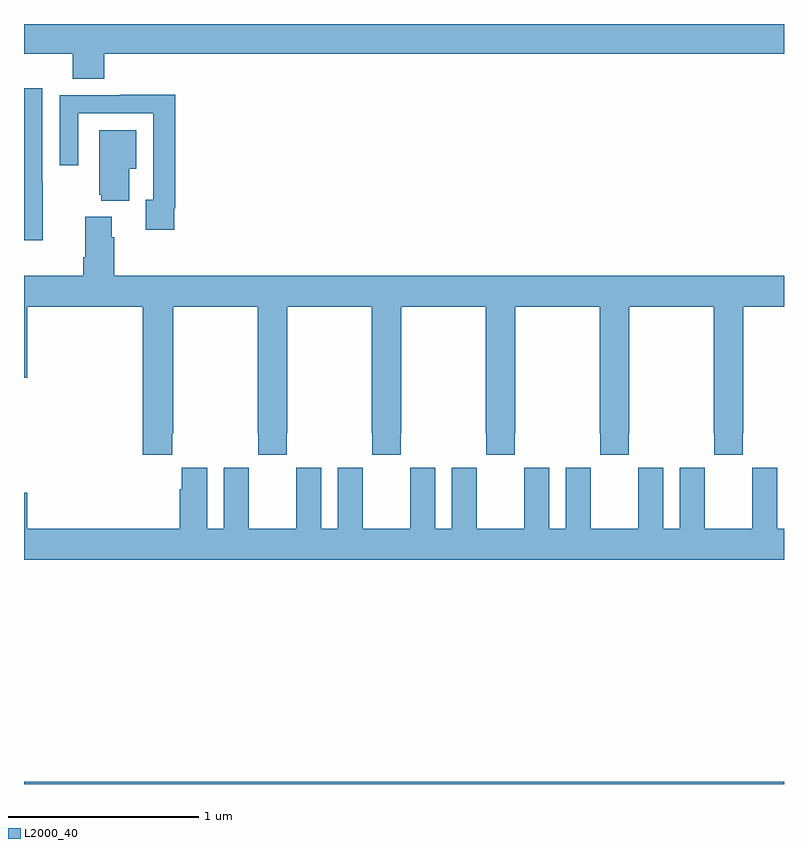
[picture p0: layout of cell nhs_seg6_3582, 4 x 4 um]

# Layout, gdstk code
import gdstk
lib = gdstk.Library(unit=1e-6, precision=1e-09)
def R(c, l, rs):  # rectangles x0, y0, x1, y1
    for r in rs: c.add(gdstk.rectangle(r[:2], r[2:], *l))
def P(c, l, *ps):  # polygons
    for p in ps: c.add(gdstk.Polygon(p, *l))
L2000_40 = (2000, 40)

nhs_seg6_3582 = lib.new_cell('nhs_seg6_3582')
R(nhs_seg6_3582, L2000_40, [(321,935.5,325,935.512)])
P(nhs_seg6_3582, L2000_40, [(325,939.5),(321,939.5),(321,939.344),(321.257,939.344),(321.257,939.211),(321.422,939.211),(321.422,939.344),(325,939.344)],
  [(321.099,938.669),(321.096,938.669),(321.096,939.163),(321,939.163),(321,938.363),(321.099,938.363)],
  [(321.79,938.53),(321.797,938.53),(321.797,939.128),(321.505,939.128),(321.505,939.126),(321.189,939.126),(321.189,938.757),(321.285,938.757),(321.285,939.03),(321.681,939.03),(321.681,938.574),(321.641,938.574),(321.641,938.418),(321.79,938.418)],
  [(321.553,938.738),(321.592,938.738),(321.592,938.941),(321.395,938.941),(321.395,938.601),(321.407,938.601),(321.407,938.57),(321.553,938.57)],
  [(321.476,938.378),(321.463,938.378),(321.463,938.485),(321.323,938.485),(321.323,938.272),(321.311,938.272),(321.311,938.176),(321,938.176),(321,937.638),(321.016,937.638),(321.016,938.012),(321.626,938.012),(321.626,937.233),(321.779,937.233),(321.779,937.345),(321.786,937.345),(321.786,938.012),(322.231,938.012),(322.231,937.345),(322.233,937.345),(322.233,937.233),(322.383,937.233),(322.383,937.345),(322.386,937.345),(322.386,938.012),(322.831,938.012),(322.831,937.345),(322.833,937.345),(322.833,937.233),(322.983,937.233),(322.983,937.345),(322.986,937.345),(322.986,938.012),(323.431,938.012),(323.431,937.345),(323.433,937.345),(323.433,937.233),(323.583,937.233),(323.583,937.345),(323.586,937.345),(323.586,938.012),(324.031,938.012),(324.031,937.345),(324.033,937.345),(324.033,937.233),(324.183,937.233),(324.183,937.345),(324.186,937.345),(324.186,938.012),(324.631,938.012),(324.631,937.345),(324.633,937.345),(324.633,937.233),(324.783,937.233),(324.783,937.345),(324.786,937.345),(324.786,938.012),(325,938.012),(325,938.176),(321.476,938.176)],
  [(324.834,937.165),(324.834,937.052),(324.833,937.052),(324.833,936.844),(324.583,936.844),(324.583,937.052),(324.582,937.052),(324.582,937.165),(324.452,937.165),(324.452,936.844),(324.364,936.844),(324.364,937.165),(324.234,937.165),(324.234,937.052),(324.233,937.052),(324.233,936.844),(323.983,936.844),(323.983,937.052),(323.982,937.052),(323.982,937.165),(323.852,937.165),(323.852,936.844),(323.764,936.844),(323.764,937.165),(323.634,937.165),(323.634,937.052),(323.633,937.052),(323.633,936.844),(323.383,936.844),(323.383,937.052),(323.382,937.052),(323.382,937.165),(323.252,937.165),(323.252,936.844),(323.164,936.844),(323.164,937.165),(323.034,937.165),(323.034,937.052),(323.033,937.052),(323.033,936.844),(322.783,936.844),(322.783,937.052),(322.782,937.052),(322.782,937.165),(322.652,937.165),(322.652,936.844),(322.564,936.844),(322.564,937.165),(322.434,937.165),(322.434,937.052),(322.433,937.052),(322.433,936.844),(322.183,936.844),(322.183,937.052),(322.182,937.052),(322.182,937.165),(322.052,937.165),(322.052,936.844),(321.964,936.844),(321.964,937.165),(321.83,937.165),(321.83,937.052),(321.821,937.052),(321.821,936.844),(321.016,936.844),(321.016,937.033),(321,937.033),(321,936.68),(325,936.68),(325,936.844),(324.964,936.844),(324.964,937.165)])

lib.write_gds('nhs_seg6_3582.gds')
